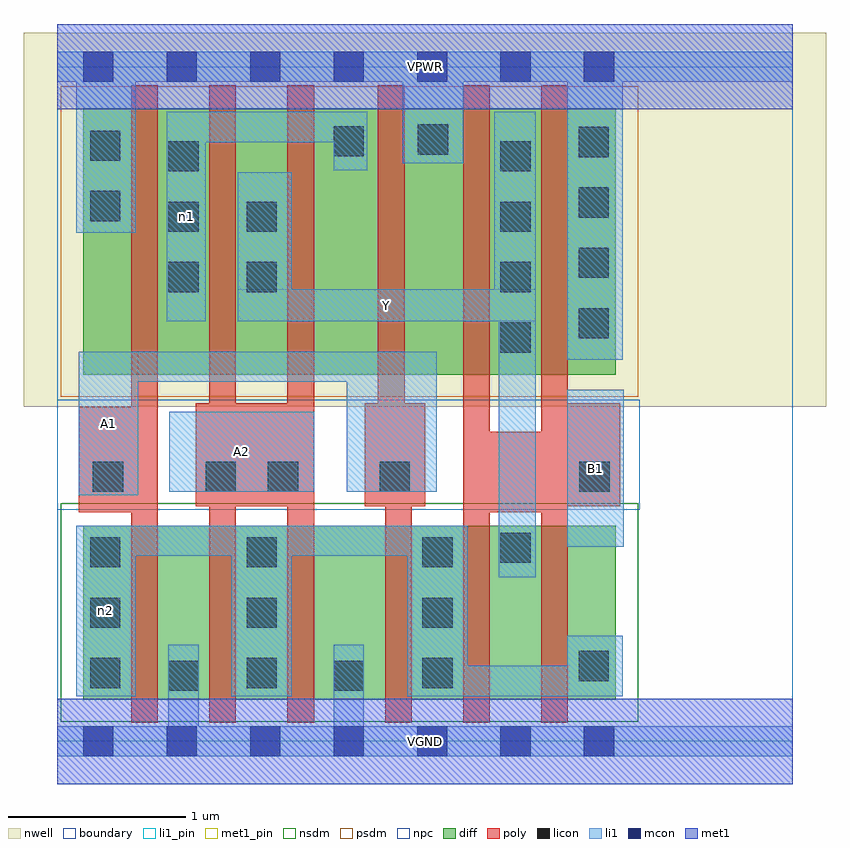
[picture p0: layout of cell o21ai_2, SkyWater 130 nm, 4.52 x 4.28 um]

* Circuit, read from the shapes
.subckt o21ai_2 A1 A2 B1 VGND VPWR Y n1 n2
XM1 VGND A1 n2 VSUBS sky130_fd_pr__nfet_01v8 w=0.98 l=0.15 m=2
XM2 n2 A2 VGND VSUBS sky130_fd_pr__nfet_01v8 w=0.98 l=0.15 m=2
XM3 Y B1 n2 VSUBS sky130_fd_pr__nfet_01v8 w=0.98 l=0.15 m=2
XM4 n1 A1 VPWR n3 sky130_fd_pr__pfet_01v8 w=1.5 l=0.15 m=2
XM5 Y A2 n1 n3 sky130_fd_pr__pfet_01v8 w=1.5 l=0.15 m=2
XM6 Y B1 VPWR n3 sky130_fd_pr__pfet_01v8 w=1.5 l=0.15 m=2
.ends

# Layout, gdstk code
import gdstk
lib = gdstk.Library(unit=1e-6, precision=1e-09)
def R(c, l, rs):  # rectangles x0, y0, x1, y1
    for r in rs: c.add(gdstk.rectangle(r[:2], r[2:], *l))
def A(c, l, x, y, w, h, nx, ny, dx, dy):  # array of equal rectangles
    R(c, l, [(x+i*dx, y+j*dy, x+i*dx+w, y+j*dy+h) for i in range(nx) for j in range(ny)])
nwell = (64, 20)
diff = (65, 20)
poly = (66, 20)
licon = (66, 44)
li1_pin = (67, 16)
li1 = (67, 20)
mcon = (67, 44)
met1_pin = (68, 16)
met1 = (68, 20)
nsdm = (93, 44)
psdm = (94, 20)
npc = (95, 20)
boundary = (235, 4)

o21ai_2 = lib.new_cell('o21ai_2')
R(o21ai_2, nwell, [(-0.19,1.885,4.33,3.99), (0,1.885,4.14,3.99)])
R(o21ai_2, diff, [(0.145,0.235,3.145,1.215), (0.145,2.065,3.145,3.565)])
A(o21ai_2, poly, 0.415, 0.105, 0.15, 3.59, 3, 1, 0.44, 0)
R(o21ai_2, poly, [(1.845,0.105,1.995,1.905), (2.285,0.105,2.435,3.695), (2.725,0.105,2.875,3.695), (0.12,1.29,0.565,1.885), (2.285,1.29,2.875,1.745), (0.78,1.325,1.445,1.905), (1.73,1.325,2.07,1.905), (1.805,1.325,1.955,3.695), (2.725,1.325,3.17,1.905)])
A(o21ai_2, licon, 0.185, 0.3, 0.17, 0.17, 1, 3, 0, 0.34)
A(o21ai_2, licon, 1.065, 0.3, 0.17, 0.17, 1, 3, 0, 0.34)
A(o21ai_2, licon, 2.055, 0.3, 0.17, 0.17, 1, 3, 0, 0.34)
A(o21ai_2, licon, 2.495, 2.19, 0.17, 0.17, 1, 4, 0, 0.34)
A(o21ai_2, licon, 2.935, 2.27, 0.17, 0.17, 1, 4, 0, 0.34)
A(o21ai_2, licon, 0.625, 2.53, 0.17, 0.17, 1, 3, 0, 0.34)
R(o21ai_2, licon, [(0.625,0.285,0.795,0.455), (1.555,0.285,1.725,0.455), (2.935,0.34,3.105,0.51), (2.495,1.005,2.665,1.175), (0.2,1.405,0.37,1.575), (0.835,1.405,1.005,1.575), (1.185,1.405,1.355,1.575), (1.815,1.405,1.985,1.575), (2.94,1.405,3.11,1.575), (1.065,2.53,1.235,2.7), (1.065,2.87,1.235,3.04), (0.185,2.93,0.355,3.1), (0.185,3.27,0.355,3.44), (1.555,3.295,1.725,3.465), (2.03,3.305,2.2,3.475)])
R(o21ai_2, li1_pin, [(2.87,1.095,3.19,1.98), (0.12,1.385,0.455,2.195), (0.63,1.405,1.445,1.855), (1.015,2.365,2.695,2.545)])
R(o21ai_2, li1, [(0,-0.085,4.14,0.085), (0.625,-0.085,0.795,0.545), (1.555,-0.085,1.725,0.545), (0.105,0.255,0.44,1.215), (0.98,0.255,1.32,1.215), (1.97,0.255,2.31,1.215), (1.97,0.255,3.185,0.425), (2.87,0.255,3.185,0.595), (2.485,0.925,2.695,3.545), (0.105,1.045,2.31,1.215), (2.87,1.095,3.19,1.98), (0.12,1.385,0.455,2.195), (0.63,1.405,1.445,1.855), (1.63,1.405,2.135,2.195), (0.12,2.025,2.135,2.195), (2.87,2.15,3.185,3.885), (0.615,2.365,0.835,3.545), (1.015,2.365,2.695,2.545), (1.015,2.365,1.32,3.205), (2.46,2.365,2.695,3.545), (0.105,2.865,0.44,3.885), (1.555,3.215,1.745,3.545), (1.945,3.255,2.285,3.885), (0.615,3.375,1.745,3.545), (0,3.715,4.14,3.885)])
A(o21ai_2, mcon, 0.145, -0.085, 0.17, 0.17, 7, 2, 0.47, 3.8)
R(o21ai_2, met1_pin, [(0,-0.24,4.14,0.24), (0,3.56,4.14,4.04)])
R(o21ai_2, met1, [(0,-0.24,4.14,0.24), (0,3.56,4.14,4.04)])
R(o21ai_2, nsdm, [(0.02,0.11,3.27,1.34)])
R(o21ai_2, psdm, [(0.02,1.94,3.27,3.69)])
R(o21ai_2, npc, [(0,1.305,3.28,1.925)])
R(o21ai_2, boundary, [(0,0,4.14,3.8)])
o21ai_2.add(gdstk.Label('A1', (0.287,1.79), layer=67, texttype=5))
o21ai_2.add(gdstk.Label('A2', (1.037,1.63), layer=67, texttype=5))
o21ai_2.add(gdstk.Label('B1', (3.03,1.537), layer=67, texttype=5))
o21ai_2.add(gdstk.Label('Y', (1.855,2.455), layer=67, texttype=5))
o21ai_2.add(gdstk.Label('n2', (0.272,0.735), layer=67, texttype=5))
o21ai_2.add(gdstk.Label('n1', (0.725,2.955), layer=67, texttype=5))
o21ai_2.add(gdstk.Label('VPWR', (2.07,3.8), layer=68, texttype=5))
o21ai_2.add(gdstk.Label('VGND', (2.07,0), layer=68, texttype=5))
o21ai_2.add(gdstk.Label('A1', (0.287,1.79), layer=67, texttype=16))
o21ai_2.add(gdstk.Label('A2', (1.037,1.63), layer=67, texttype=16))
o21ai_2.add(gdstk.Label('B1', (3.03,1.537), layer=67, texttype=16))
o21ai_2.add(gdstk.Label('Y', (1.855,2.455), layer=67, texttype=16))
o21ai_2.add(gdstk.Label('VPWR', (2.07,3.8), layer=68, texttype=16))
o21ai_2.add(gdstk.Label('VGND', (2.07,0), layer=68, texttype=16))

lib.write_gds('o21ai_2.gds')
